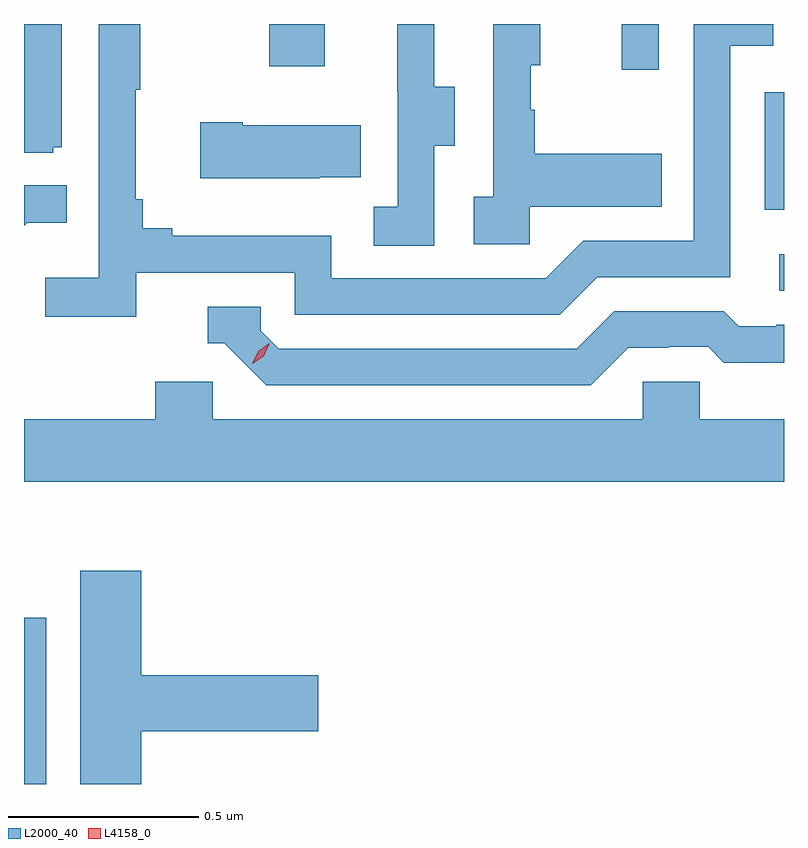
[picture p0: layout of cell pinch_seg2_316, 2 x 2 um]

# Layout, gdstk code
import gdstk
lib = gdstk.Library(unit=1e-6, precision=1e-09)
def R(c, l, rs):  # rectangles x0, y0, x1, y1
    for r in rs: c.add(gdstk.rectangle(r[:2], r[2:], *l))
def P(c, l, *ps):  # polygons
    for p in ps: c.add(gdstk.Polygon(p, *l))
L2000_40 = (2000, 40)
L4158_0 = (4158, 0)

pinch_seg2_316 = lib.new_cell('pinch_seg2_316')
R(pinch_seg2_316, L2000_40, [(902.221,633.52,902.28,633.958), (904.209,634.818,904.221,634.914), (904.17,635.031,904.221,635.34), (903.794,635.4,903.891,635.52), (902.866,635.409,903.013,635.52)])
P(pinch_seg2_316, L2000_40, [(902.298,635.196),(902.32,635.196),(902.32,635.52),(902.221,635.52),(902.221,635.181),(902.298,635.181)],
  [(902.516,634.866),(902.934,634.866),(902.934,634.755),(903.631,634.755),(903.73,634.854),(904.08,634.854),(904.08,635.463),(904.193,635.463),(904.193,635.52),(903.984,635.52),(903.984,634.95),(903.693,634.95),(903.594,634.851),(903.03,634.851),(903.03,634.963),(902.611,634.963),(902.611,634.982),(902.534,634.982),(902.534,635.059),(902.515,635.059),(902.515,635.347),(902.527,635.347),(902.527,635.52),(902.418,635.52),(902.418,634.852),(902.277,634.852),(902.277,634.75),(902.516,634.75)],
  [(903.552,635.039),(903.899,635.039),(903.899,635.179),(903.565,635.179),(903.565,635.294),(903.555,635.294),(903.555,635.412),(903.58,635.412),(903.58,635.52),(903.456,635.52),(903.456,635.066),(903.405,635.066),(903.405,634.941),(903.552,634.941)],
  [(903.3,635.2),(903.355,635.2),(903.355,635.355),(903.301,635.355),(903.301,635.52),(903.203,635.52),(903.203,635.343),(903.204,635.343),(903.204,635.039),(903.141,635.039),(903.141,634.936),(903.3,634.936)],
  [(902.999,635.117),(903.107,635.117),(903.107,635.254),(902.797,635.254),(902.797,635.262),(902.685,635.262),(902.685,635.114),(902.999,635.114)],
  [(902.229,634.997),(902.333,634.997),(902.333,635.096),(902.221,635.096),(902.221,634.989)],
  [(903.811,634.668),(903.918,634.668),(903.918,634.671),(904.021,634.671),(904.063,634.629),(904.221,634.629),(904.221,634.728),(904.201,634.728),(904.201,634.725),(904.102,634.725),(904.063,634.764),(903.774,634.764),(903.675,634.665),(902.892,634.665),(902.844,634.713),(902.844,634.776),(902.705,634.776),(902.705,634.68),(902.748,634.68),(902.859,634.569),(903.712,634.569)],
  [(904.221,634.48),(903.999,634.48),(903.999,634.578),(903.849,634.578),(903.849,634.48),(902.718,634.48),(902.718,634.578),(902.567,634.578),(902.567,634.48),(902.221,634.48),(902.221,634.316),(904.221,634.316)],
  [(902.53,633.659),(902.995,633.659),(902.995,633.806),(902.53,633.806),(902.53,634.081),(902.369,634.081),(902.369,633.52),(902.53,633.52)])
P(pinch_seg2_316, L4158_0, [(902.822,634.626),(902.822,634.626),(902.837,634.659),(902.867,634.68),(902.867,634.68),(902.867,634.679),(902.852,634.646),(902.822,634.626)])

lib.write_gds('pinch_seg2_316.gds')
